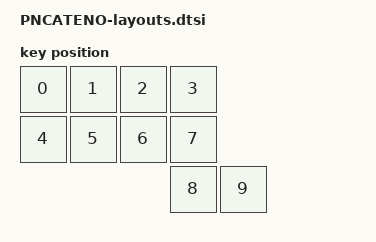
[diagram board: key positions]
#include <physical_layouts.dtsi>

/ {
    PNCATENO_layout: PNCATENO_layout_0 {
        compatible = "zmk,physical-layout";
        display-name = "Default";
        kscan = <&kscan0>;
        transform = <&matrix_transform0>;
        keys  //                     w   h    x    y     rot    rx    ry
            = <&key_physical_attrs 100 100    0    0       0     0     0>
            , <&key_physical_attrs 100 100  100    0       0     0     0>
            , <&key_physical_attrs 100 100  200    0       0     0     0>
            , <&key_physical_attrs 100 100  300    0       0     0     0>
            , <&key_physical_attrs 100 100    0  100       0     0     0>
            , <&key_physical_attrs 100 100  100  100       0     0     0>
            , <&key_physical_attrs 100 100  200  100       0     0     0>
            , <&key_physical_attrs 100 100  300  100       0     0     0>
            , <&key_physical_attrs 100 100  300  200       0     0     0>
            , <&key_physical_attrs 100 100  400  200       0     0     0>
            
            ;
    };
};

        PNCATENO_position_map{
        compatible = "zmk,physical-layout-position-map";
        complete;

        default {
                physical-layout = <&PNCATENO_layout>;
                positions
                = < 0  1  2  3 >
                , < 4  5  6  7 >
                , < 8 9 >;
        };
};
